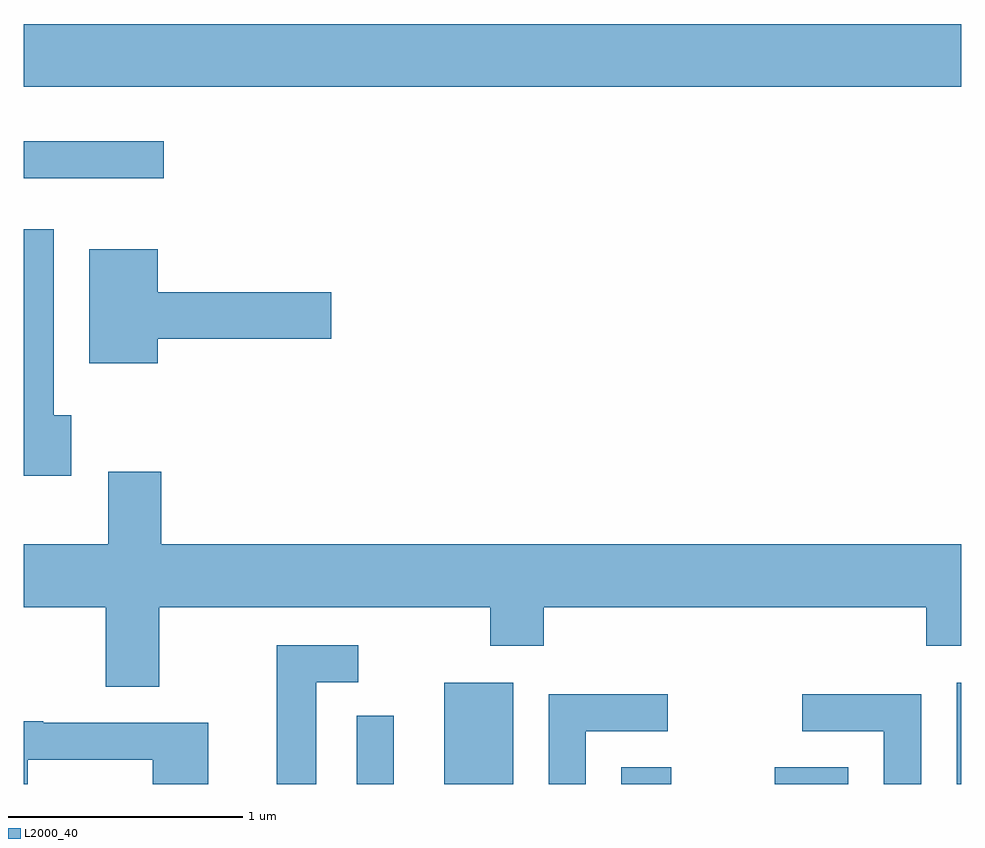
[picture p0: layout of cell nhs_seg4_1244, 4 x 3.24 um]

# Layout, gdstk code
import gdstk
lib = gdstk.Library(unit=1e-6, precision=1e-09)
def R(c, l, rs):  # rectangles x0, y0, x1, y1
    for r in rs: c.add(gdstk.rectangle(r[:2], r[2:], *l))
def P(c, l, *ps):  # polygons
    for p in ps: c.add(gdstk.Polygon(p, *l))
L2000_40 = (2000, 40)

nhs_seg4_1244 = lib.new_cell('nhs_seg4_1244')
R(nhs_seg4_1244, L2000_40, [(223.031,1293.982,223.189,1294.273), (223.406,1293.982,223.699,1294.414), (224.161,1293.982,224.374,1294.054), (224.816,1293.982,225.129,1294.054), (225.591,1293.982,225.611,1294.414), (221.611,1296.566,222.208,1296.724), (221.611,1296.956,225.611,1297.224)])
P(nhs_seg4_1244, L2000_40, [(221.814,1295.554),(221.739,1295.554),(221.739,1296.349),(221.611,1296.349),(221.611,1295.296),(221.814,1295.296)],
  [(222.184,1295.881),(222.924,1295.881),(222.924,1296.079),(222.184,1296.079),(222.184,1296.264),(221.891,1296.264),(221.891,1295.776),(222.184,1295.776)],
  [(222.189,1294.736),(223.601,1294.736),(223.601,1294.571),(223.829,1294.571),(223.829,1294.736),(225.461,1294.736),(225.461,1294.571),(225.611,1294.571),(225.611,1295.004),(222.199,1295.004),(222.199,1295.314),(221.971,1295.314),(221.971,1295.004),(221.611,1295.004),(221.611,1294.736),(221.961,1294.736),(221.961,1294.396),(222.189,1294.396)],
  [(222.859,1294.416),(223.038,1294.416),(223.038,1294.574),(222.691,1294.574),(222.691,1293.982),(222.859,1293.982)],
  [(224.009,1294.206),(224.358,1294.206),(224.358,1294.364),(223.851,1294.364),(223.851,1293.982),(224.009,1293.982)],
  [(225.439,1294.364),(224.933,1294.364),(224.933,1294.206),(225.281,1294.206),(225.281,1293.982),(225.439,1293.982)],
  [(221.629,1294.086),(222.161,1294.086),(222.161,1293.982),(222.399,1293.982),(222.399,1294.244),(221.695,1294.244),(221.695,1294.249),(221.611,1294.249),(221.611,1293.982),(221.629,1293.982)])

lib.write_gds('nhs_seg4_1244.gds')
